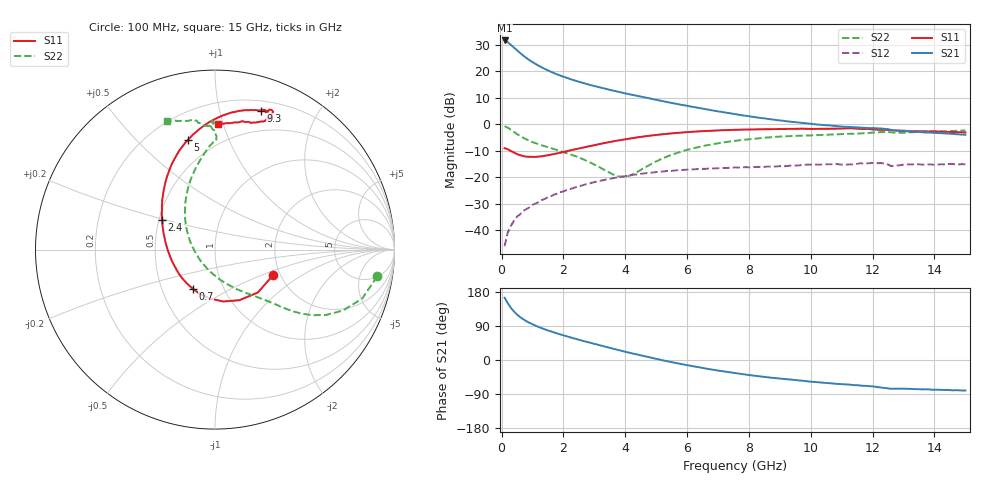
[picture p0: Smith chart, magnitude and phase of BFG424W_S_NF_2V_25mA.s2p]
! Filename BFG424W_2V_25mA.prm
! Simulation_Values
!	! Created	by	janssen	on	Thu	Sep	15	10:02:03	WETDST	2005
!	Column ranking S11, S21,S12,S22 both magnitude and phase.
!	VCE	=	2	V,	IC	=	25	mA
!	Common	Emitter	S-Parameters
#	GHz	S	MA	R	50
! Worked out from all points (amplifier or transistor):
!   150 points, 100 MHz to 15 GHz, reference 50 ohm
!   highest |S21| = 31.6 dB at 100 MHz (marker M1)
!   |S21| within 3 dB of that: start of sweep to 433.5 MHz
!   unconditionally stable (mu >= 1): 1.173 GHz to 7.788 GHz
!   at 2.6 GHz: K = 1.11, MAG = 17.4 dB, |S12| = -23.1 dB
!   at 7.6 GHz: K = 1.00, MAG = 9.9 dB, |S12| = -16.3 dB
!   at 15 GHz: K = 0.59, MSG = 5.6 dB, |S12| = -15.1 dB
!   lowest NFmin = 2.10 dB at 900 MHz
!   S11 on the Smith chart (normalised r, x): 100 MHz: 1.84, -0.59; 700 MHz: 0.71, -0.33; 2.4 GHz: 0.52, +0.20; 5 GHz: 0.36, +0.72; 9.3 GHz: 0.29, +1.34; 15 GHz: 0.35, +0.96
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0.1  0.354 -23.4  38.19 164.3  0.005 82.8  0.916 -9.4
0.2  0.338 -45.0  35.48 150.1  0.009 75.8  0.864 -18.4
0.3  0.313 -64.2  31.71 138.1  0.012 70.6  0.79 -25.4
0.4  0.293 -80.9  28.16 128.3  0.015 68.1  0.718 -30.5
0.5  0.274 -95.7  24.93 120.0  0.018 66.4  0.654 -34.0
0.6  0.261 -108.8  22.18 113.3  0.02 64.7  0.599 -36.5
0.7  0.251 -119.7  19.86 107.6  0.023 64.3  0.556 -38.3
0.8  0.245 -129.7  17.93 102.7  0.025 63.9  0.519 -39.7
1  0.242 -146.8  14.92 94.3  0.03 63.2  0.461 -41.8
1.3  0.249 -166.5  11.86 83.9  0.037 61.6  0.401 -44.9
1.8  0.282 169.9  8.744 70.0  0.049 58.2  0.326 -50.9
2.4  0.339 150.5  6.604 55.7  0.065 52.4  0.249 -61.7
2.6  0.36 145.5  6.106 51.3  0.07 50.3  0.223 -66.5
3.7  0.487 123.3  4.194 27.9  0.098 36.7  0.107 -122.6
5  0.629 104.0  2.889 2.9  0.125 19.1  0.199 143.0
5.1  0.638 102.7  2.81 1.3  0.127 17.8  0.212 139.8
6.2  0.723 90.6  2.122 -16.6  0.141 4.1  0.352 116.3
7.6  0.788 79.3  1.539 -35.3  0.153 -10.0  0.491 100.8
9.3  0.816 71.7  1.126 -51.5  0.165 -21.6  0.6 90.8
10.1  0.815 69.8  1.002 -57.9  0.174 -28.3  0.62 89.4
12.6  0.777 68.5  0.781 -76.0  0.162 -43.9  0.707 90.5
15  0.7 88.6  0.632 -80.4  0.175 -41.6  0.766 110.6
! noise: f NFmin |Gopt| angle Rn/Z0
0.9  2.1  0.25  -166.3  0.19
2  2.5  0.22  -152.2  0.21
